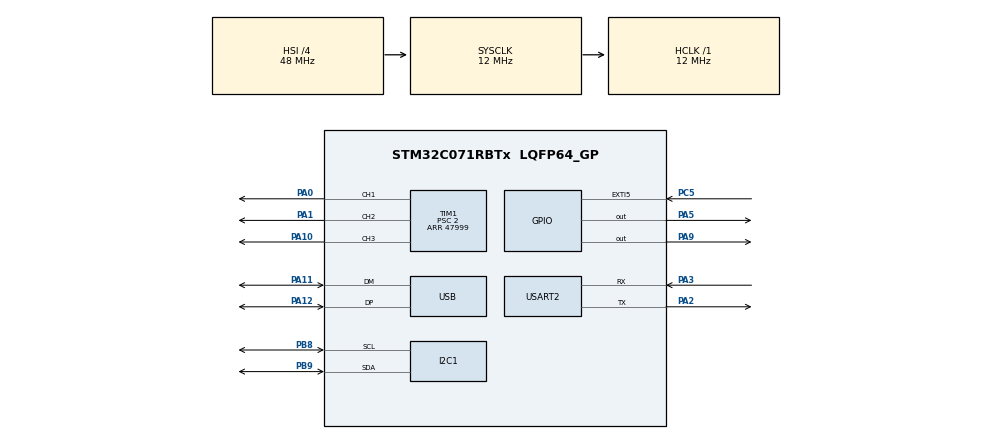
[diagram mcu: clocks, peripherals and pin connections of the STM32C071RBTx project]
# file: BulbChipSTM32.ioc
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I2C1.Timing=0x00402D41
Mcu.Family=STM32C0
Mcu.Name=STM32C071RBTx
Mcu.Package=LQFP64_GP
NVIC.EXTI4_15_IRQn=true\:0\:0\:false\:false\:true\:true\:true\:true
NVIC.TIM2_IRQn=true\:0\:0\:false\:false\:true\:true\:true\:true
NVIC.USB_DRD_FS_IRQn=true\:0\:0\:false\:false\:false\:true\:false\:true
PA0.Signal=S_TIM1_CH1
PA1.Signal=S_TIM1_CH2
PA10\ [PA12].Signal=S_TIM1_CH3
PA11\ [PA9].Mode=Device
PA11\ [PA9].Signal=USB_DM
PA12\ [PA10].Mode=Device
PA12\ [PA10].Signal=USB_DP
PA13.Mode=Serial_Wire
PA13.Signal=DEBUG_SWDIO
PA14-BOOT0.Mode=Serial_Wire
PA14-BOOT0.Signal=DEBUG_SWCLK
PA2.Mode=Asynchronous
PA2.Signal=USART2_TX
PA3.Mode=Asynchronous
PA3.Signal=USART2_RX
PA5.Signal=GPIO_Output
PA9\ [PA11].Signal=GPIO_Output
PB8.Mode=I2C
PB8.Signal=I2C1_SCL
PB9.Mode=I2C
PB9.Signal=I2C1_SDA
PC5.GPIO_ModeDefaultEXTI=GPIO_MODE_IT_FALLING
PC5.GPIO_PuPd=GPIO_NOPULL
PC5.Signal=GPXTI5
ProjectManager.HeapSize=0x200
ProjectManager.StackSize=0x400
ProjectManager.TargetToolchain=STM32CubeIDE
RCC.ADCFreq_Value=12000000
RCC.AHBFreq_Value=12000000
RCC.CortexFreq_Value=12000000
RCC.EXTERNAL_CLOCK_VALUE=12288000
RCC.HCLKFreq_Value=12000000
RCC.HSE_VALUE=8000000
RCC.HSI48_VALUE=48000000
RCC.HSI_VALUE=48000000
RCC.LSE_VALUE=32768
RCC.SYSCLKFreq_VALUE=12000000
SH.S_TIM1_CH1.0=TIM1_CH1,PWM Generation1 CH1
SH.S_TIM1_CH2.0=TIM1_CH2,PWM Generation2 CH2
SH.S_TIM1_CH3.0=TIM1_CH3,PWM Generation3 CH3
TIM1.Channel-PWM\ Generation1\ CH1=TIM_CHANNEL_1
TIM1.Channel-PWM\ Generation2\ CH2=TIM_CHANNEL_2
TIM1.Channel-PWM\ Generation3\ CH3=TIM_CHANNEL_3
TIM1.Period=47999
TIM1.Prescaler=2
TIM1.Pulse-PWM\ Generation1\ CH1=9600
TIM1.Pulse-PWM\ Generation2\ CH2=5000
TIM1.Pulse-PWM\ Generation3\ CH3=1000
TIM2.Period=47999
TIM2.Prescaler=2
USART2.VirtualMode-Asynchronous=VM_ASYNC
USB.VirtualMode=Device_Only
VP_TIM1_VS_ClockSourceINT.Mode=Internal
VP_TIM2_VS_ClockSourceINT.Mode=Internal
board=NUCLEO-C071RB

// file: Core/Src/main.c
/* USER CODE BEGIN Header */
/**
 ******************************************************************************
 * @file           : main.c
 * @brief          : Main program body
 ******************************************************************************
 * @attention
 *
 * Copyright (c) 2025 STMicroelectronics.
 * All rights reserved.
 *
 * This software is licensed under terms that can be found in the LICENSE file
 * in the root directory of this software component.
 * If no LICENSE file comes with this software, it is provided AS-IS.
 *
 ******************************************************************************
 */
/* USER CODE END Header */
#include "main.h"

/* USER CODE BEGIN Includes */
#include "tusb.h"
//#include "lwjson/lwjson.h"
#include "storage.h"
#include "bulb_json.h"
#include "chip_state.h"
#include "bq25180.h"
#include "rgb.h"

/* USER CODE END Includes */

I2C_HandleTypeDef hi2c1;

TIM_HandleTypeDef htim1;
TIM_HandleTypeDef htim2;

UART_HandleTypeDef huart2;

PCD_HandleTypeDef hpcd_USB_DRD_FS;

/* USER CODE BEGIN PV */
BQ25180 chargerIC;

/* USER CODE END PV */

void SystemClock_Config(void);
static void MX_GPIO_Init(void);
static void MX_USART2_UART_Init(void);
static void MX_TIM1_Init(void);
static void MX_USB_PCD_Init(void);
static void MX_TIM2_Init(void);
static void MX_I2C1_Init(void);

/* USER CODE BEGIN 0 */

uint8_t jsonBuf[1024];
uint16_t jsonIndex = 0;

static void cdc_task(void) {
	uint8_t itf;

	for (itf = 0; itf < CFG_TUD_CDC; itf++) {
		// connected() check for DTR bit
		// Most but not all terminal client set this when making connection
		// if ( tud_cdc_n_connected(itf) )
		{
			if (tud_cdc_n_available(itf)) {
				uint8_t buf[64];
				uint32_t count = tud_cdc_n_read(itf, buf, sizeof(buf));
				for (uint8_t i = 0; i < count; i++) {
					jsonBuf[jsonIndex + i] = buf[i];
				}
				jsonIndex += count;
			} else if (jsonIndex != 0) {
				jsonIndex = 0;
				BulbMode mode = parseJson(jsonBuf, 1024);

				if (mode.numChanges > 0 && mode.totalTicks > 0) {
					writeBulbModeToFlash(mode.modeIndex, jsonBuf, mode.jsonLength);
					setCurrentMode(mode);
					showSuccess();
				}
			}
		}
	}
}

static void BQ25180_Init(void) {
	chargerIC.hi2c = &hi2c1;
	chargerIC.huart = &huart2;
	chargerIC.devAddress = (0x6A << 1);
}

void shutdown() {
	HAL_SuspendTick();
	HAL_PWREx_EnterSHUTDOWNMode();
}

/* USER CODE END 0 */

int main(void)
{

  /* MCU Configuration--------------------------------------------------------*/

  /* Reset of all peripherals, Initializes the Flash interface and the Systick. */
  HAL_Init();

  /* Configure the system clock */
  SystemClock_Config();

  /* Initialize all configured peripherals */
  MX_GPIO_Init();
  MX_USART2_UART_Init();
  MX_TIM1_Init();
  MX_USB_PCD_Init();
  MX_TIM2_Init();
  MX_I2C1_Init();
  /* USER CODE BEGIN 2 */
	tusb_init(); // integration guide: https://github.com/hathach/tinyusb/discussions/633

	setInitialState();

	HAL_TIM_PWM_Start(&htim1, TIM_CHANNEL_1);
	HAL_TIM_PWM_Start(&htim1, TIM_CHANNEL_2);
	HAL_TIM_PWM_Start(&htim1, TIM_CHANNEL_3);
	HAL_TIM_Base_Start_IT(&htim2);

	BQ25180_Init();

  /* USER CODE END 2 */

  /* Infinite loop */
  /* USER CODE BEGIN WHILE */

	showSuccess();

	while (1) {
		tud_task();
		cdc_task();
		rgb_task();

		handleButtonInput(shutdown);

		configureChargerIC(&chargerIC);
//		readRegisters(&chargerIC);

		HAL_SuspendTick();
		HAL_PWR_EnterSLEEPMode(PWR_MAINREGULATOR_ON, PWR_SLEEPENTRY_WFI);
		HAL_ResumeTick();

    /* USER CODE END WHILE */

	}
}

void SystemClock_Config(void)
{
  RCC_OscInitTypeDef RCC_OscInitStruct = {0};
  RCC_ClkInitTypeDef RCC_ClkInitStruct = {0};

  __HAL_FLASH_SET_LATENCY(FLASH_LATENCY_0);

  /** Initializes the RCC Oscillators according to the specified parameters
  * in the RCC_OscInitTypeDef structure.
  */
  RCC_OscInitStruct.OscillatorType = RCC_OSCILLATORTYPE_HSI|RCC_OSCILLATORTYPE_HSI48;
  RCC_OscInitStruct.HSIState = RCC_HSI_ON;
  RCC_OscInitStruct.HSIDiv = RCC_HSI_DIV4;
  RCC_OscInitStruct.HSICalibrationValue = RCC_HSICALIBRATION_DEFAULT;
  RCC_OscInitStruct.HSI48State = RCC_HSI48_ON;

  if (HAL_RCC_OscConfig(&RCC_OscInitStruct) != HAL_OK)
  {
    Error_Handler();
  }

  /** Initializes the CPU, AHB and APB buses clocks
  */
  RCC_ClkInitStruct.ClockType = RCC_CLOCKTYPE_HCLK|RCC_CLOCKTYPE_SYSCLK
                              |RCC_CLOCKTYPE_PCLK1;
  RCC_ClkInitStruct.SYSCLKSource = RCC_SYSCLKSOURCE_HSI;
  RCC_ClkInitStruct.SYSCLKDivider = RCC_SYSCLK_DIV1;
  RCC_ClkInitStruct.AHBCLKDivider = RCC_HCLK_DIV1;
  RCC_ClkInitStruct.APB1CLKDivider = RCC_APB1_DIV1;

  if (HAL_RCC_ClockConfig(&RCC_ClkInitStruct, FLASH_LATENCY_0) != HAL_OK)
  {
    Error_Handler();
  }
}

static void MX_I2C1_Init(void)
{

  hi2c1.Instance = I2C1;
  hi2c1.Init.Timing = 0x00402D41;
  hi2c1.Init.OwnAddress1 = 0;
  hi2c1.Init.AddressingMode = I2C_ADDRESSINGMODE_7BIT;
  hi2c1.Init.DualAddressMode = I2C_DUALADDRESS_DISABLE;
  hi2c1.Init.OwnAddress2 = 0;
  hi2c1.Init.OwnAddress2Masks = I2C_OA2_NOMASK;
  hi2c1.Init.GeneralCallMode = I2C_GENERALCALL_DISABLE;
  hi2c1.Init.NoStretchMode = I2C_NOSTRETCH_DISABLE;
  if (HAL_I2C_Init(&hi2c1) != HAL_OK)
  {
    Error_Handler();
  }

  /** Configure Analogue filter
  */
  if (HAL_I2CEx_ConfigAnalogFilter(&hi2c1, I2C_ANALOGFILTER_ENABLE) != HAL_OK)
  {
    Error_Handler();
  }

  /** Configure Digital filter
  */
  if (HAL_I2CEx_ConfigDigitalFilter(&hi2c1, 0) != HAL_OK)
  {
    Error_Handler();
  }

}

static void MX_TIM1_Init(void)
{

  TIM_ClockConfigTypeDef sClockSourceConfig = {0};
  TIM_MasterConfigTypeDef sMasterConfig = {0};
  TIM_OC_InitTypeDef sConfigOC = {0};
  TIM_BreakDeadTimeConfigTypeDef sBreakDeadTimeConfig = {0};

  htim1.Instance = TIM1;
  htim1.Init.Prescaler = 2;
  htim1.Init.CounterMode = TIM_COUNTERMODE_UP;
  htim1.Init.Period = 47999;
  htim1.Init.ClockDivision = TIM_CLOCKDIVISION_DIV1;
  htim1.Init.RepetitionCounter = 0;
  htim1.Init.AutoReloadPreload = TIM_AUTORELOAD_PRELOAD_DISABLE;
  if (HAL_TIM_Base_Init(&htim1) != HAL_OK)
  {
    Error_Handler();
  }
  sClockSourceConfig.ClockSource = TIM_CLOCKSOURCE_INTERNAL;
  if (HAL_TIM_ConfigClockSource(&htim1, &sClockSourceConfig) != HAL_OK)
  {
    Error_Handler();
  }
  if (HAL_TIM_PWM_Init(&htim1) != HAL_OK)
  {
    Error_Handler();
  }
  sMasterConfig.MasterOutputTrigger = TIM_TRGO_RESET;
  sMasterConfig.MasterOutputTrigger2 = TIM_TRGO2_RESET;
  sMasterConfig.MasterSlaveMode = TIM_MASTERSLAVEMODE_DISABLE;
  if (HAL_TIMEx_MasterConfigSynchronization(&htim1, &sMasterConfig) != HAL_OK)
  {
    Error_Handler();
  }
  sConfigOC.OCMode = TIM_OCMODE_PWM1;
  sConfigOC.Pulse = 9600;
  sConfigOC.OCPolarity = TIM_OCPOLARITY_HIGH;
  sConfigOC.OCNPolarity = TIM_OCNPOLARITY_HIGH;
  sConfigOC.OCFastMode = TIM_OCFAST_DISABLE;
  sConfigOC.OCIdleState = TIM_OCIDLESTATE_RESET;
  sConfigOC.OCNIdleState = TIM_OCNIDLESTATE_RESET;
  if (HAL_TIM_PWM_ConfigChannel(&htim1, &sConfigOC, TIM_CHANNEL_1) != HAL_OK)
  {
    Error_Handler();
  }
  sConfigOC.Pulse = 5000;
  if (HAL_TIM_PWM_ConfigChannel(&htim1, &sConfigOC, TIM_CHANNEL_2) != HAL_OK)
  {
    Error_Handler();
  }
  sConfigOC.Pulse = 1000;
  if (HAL_TIM_PWM_ConfigChannel(&htim1, &sConfigOC, TIM_CHANNEL_3) != HAL_OK)
  {
    Error_Handler();
  }
  sBreakDeadTimeConfig.OffStateRunMode = TIM_OSSR_DISABLE;
  sBreakDeadTimeConfig.OffStateIDLEMode = TIM_OSSI_DISABLE;
  sBreakDeadTimeConfig.LockLevel = TIM_LOCKLEVEL_OFF;
  sBreakDeadTimeConfig.DeadTime = 0;
  sBreakDeadTimeConfig.BreakState = TIM_BREAK_DISABLE;
  sBreakDeadTimeConfig.BreakPolarity = TIM_BREAKPOLARITY_HIGH;
  sBreakDeadTimeConfig.BreakFilter = 0;
  sBreakDeadTimeConfig.BreakAFMode = TIM_BREAK_AFMODE_INPUT;
  sBreakDeadTimeConfig.Break2State = TIM_BREAK2_DISABLE;
  sBreakDeadTimeConfig.Break2Polarity = TIM_BREAK2POLARITY_HIGH;
  sBreakDeadTimeConfig.Break2Filter = 0;
  sBreakDeadTimeConfig.Break2AFMode = TIM_BREAK_AFMODE_INPUT;
  sBreakDeadTimeConfig.AutomaticOutput = TIM_AUTOMATICOUTPUT_DISABLE;
  if (HAL_TIMEx_ConfigBreakDeadTime(&htim1, &sBreakDeadTimeConfig) != HAL_OK)
  {
    Error_Handler();
  }
  HAL_TIM_MspPostInit(&htim1);

}

static void MX_TIM2_Init(void)
{

  TIM_ClockConfigTypeDef sClockSourceConfig = {0};
  TIM_MasterConfigTypeDef sMasterConfig = {0};

  htim2.Instance = TIM2;
  htim2.Init.Prescaler = 2;
  htim2.Init.CounterMode = TIM_COUNTERMODE_UP;
  htim2.Init.Period = 47999;
  htim2.Init.ClockDivision = TIM_CLOCKDIVISION_DIV1;
  htim2.Init.AutoReloadPreload = TIM_AUTORELOAD_PRELOAD_DISABLE;
  if (HAL_TIM_Base_Init(&htim2) != HAL_OK)
  {
    Error_Handler();
  }
  sClockSourceConfig.ClockSource = TIM_CLOCKSOURCE_INTERNAL;
  if (HAL_TIM_ConfigClockSource(&htim2, &sClockSourceConfig) != HAL_OK)
  {
    Error_Handler();
  }
  sMasterConfig.MasterOutputTrigger = TIM_TRGO_RESET;
  sMasterConfig.MasterSlaveMode = TIM_MASTERSLAVEMODE_DISABLE;
  if (HAL_TIMEx_MasterConfigSynchronization(&htim2, &sMasterConfig) != HAL_OK)
  {
    Error_Handler();
  }

}

static void MX_USART2_UART_Init(void)
{

  huart2.Instance = USART2;
  huart2.Init.BaudRate = 115200;
  huart2.Init.WordLength = UART_WORDLENGTH_8B;
  huart2.Init.StopBits = UART_STOPBITS_1;
  huart2.Init.Parity = UART_PARITY_NONE;
  huart2.Init.Mode = UART_MODE_TX_RX;
  huart2.Init.HwFlowCtl = UART_HWCONTROL_NONE;
  huart2.Init.OverSampling = UART_OVERSAMPLING_16;
  huart2.Init.OneBitSampling = UART_ONE_BIT_SAMPLE_DISABLE;
  huart2.Init.ClockPrescaler = UART_PRESCALER_DIV1;
  huart2.AdvancedInit.AdvFeatureInit = UART_ADVFEATURE_NO_INIT;
  if (HAL_UART_Init(&huart2) != HAL_OK)
  {
    Error_Handler();
  }
  if (HAL_UARTEx_SetTxFifoThreshold(&huart2, UART_TXFIFO_THRESHOLD_1_8) != HAL_OK)
  {
    Error_Handler();
  }
  if (HAL_UARTEx_SetRxFifoThreshold(&huart2, UART_RXFIFO_THRESHOLD_1_8) != HAL_OK)
  {
    Error_Handler();
  }
  if (HAL_UARTEx_DisableFifoMode(&huart2) != HAL_OK)
  {
    Error_Handler();
  }

}

static void MX_USB_PCD_Init(void)
{

  hpcd_USB_DRD_FS.Instance = USB_DRD_FS;
  hpcd_USB_DRD_FS.Init.dev_endpoints = 8;
  hpcd_USB_DRD_FS.Init.speed = USBD_FS_SPEED;
  hpcd_USB_DRD_FS.Init.phy_itface = PCD_PHY_EMBEDDED;
  hpcd_USB_DRD_FS.Init.Sof_enable = DISABLE;
  hpcd_USB_DRD_FS.Init.low_power_enable = DISABLE;
  hpcd_USB_DRD_FS.Init.lpm_enable = DISABLE;
  hpcd_USB_DRD_FS.Init.battery_charging_enable = DISABLE;
  hpcd_USB_DRD_FS.Init.vbus_sensing_enable = DISABLE;
  hpcd_USB_DRD_FS.Init.bulk_doublebuffer_enable = DISABLE;
  hpcd_USB_DRD_FS.Init.iso_singlebuffer_enable = DISABLE;
  if (HAL_PCD_Init(&hpcd_USB_DRD_FS) != HAL_OK)
  {
    Error_Handler();
  }

}

static void MX_GPIO_Init(void)
{
  GPIO_InitTypeDef GPIO_InitStruct = {0};
/* USER CODE BEGIN MX_GPIO_Init_1 */
//  HAL_PWR_EnableWakeUpPin(PWR_WAKEUP_PIN5_HIGH);
/* USER CODE END MX_GPIO_Init_1 */

  /* GPIO Ports Clock Enable */
  __HAL_RCC_GPIOA_CLK_ENABLE();
  __HAL_RCC_GPIOC_CLK_ENABLE();
  __HAL_RCC_GPIOB_CLK_ENABLE();

  /*Configure GPIO pin Output Level */
  HAL_GPIO_WritePin(GPIOA, GPIO_PIN_5|GPIO_PIN_9, GPIO_PIN_RESET);

  /*Configure GPIO pins : PA5 PA9 */
  GPIO_InitStruct.Pin = GPIO_PIN_5|GPIO_PIN_9;
  GPIO_InitStruct.Mode = GPIO_MODE_OUTPUT_PP;
  GPIO_InitStruct.Pull = GPIO_NOPULL;
  GPIO_InitStruct.Speed = GPIO_SPEED_FREQ_LOW;
  HAL_GPIO_Init(GPIOA, &GPIO_InitStruct);

  /*Configure GPIO pin : PC5 */
  GPIO_InitStruct.Pin = GPIO_PIN_5;
  GPIO_InitStruct.Mode = GPIO_MODE_IT_FALLING;
  GPIO_InitStruct.Pull = GPIO_NOPULL;
  HAL_GPIO_Init(GPIOC, &GPIO_InitStruct);

  /* EXTI interrupt init*/
  HAL_NVIC_SetPriority(EXTI4_15_IRQn, 0, 0);
  HAL_NVIC_EnableIRQ(EXTI4_15_IRQn);

}

void Error_Handler(void)
{
	__disable_irq();
	while (1) {
	}
}
